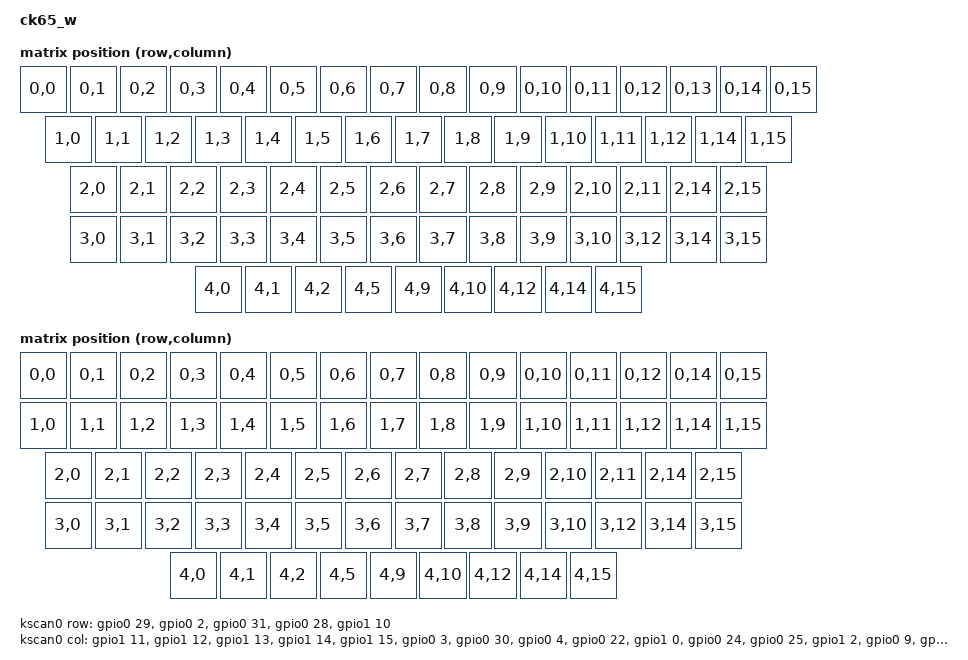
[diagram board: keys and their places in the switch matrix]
/*
 * Copyright (c) 2024 Andrew Kannan
 *
 * SPDX-License-Identifier: MIT
 */

/dts-v1/;
#include <nordic/nrf52840_qiaa.dtsi>

#include <dt-bindings/led/led.h>
#include <dt-bindings/zmk/matrix_transform.h>

#include "ck65_w-layouts.dtsi"

/ {
    model = "ck65_w";
    compatible = "cannonkeys,ck65_w";

    chosen {
        zephyr,code-partition = &code_partition;
        zephyr,sram = &sram0;
        zephyr,flash = &flash0;
        zmk,battery = &vbatt;
        zmk,kscan = &kscan0;
        zmk,physical-layout = &sixty_five_ansi_split_bs;
    };

    split_bs_transform: split_bs_transform {
        compatible = "zmk,matrix-transform";
        columns = <16>;
        rows = <5>;
        map = <
RC(0,0) RC(0,1) RC(0,2) RC(0,3) RC(0,4) RC(0,5) RC(0,6) RC(0,7) RC(0,8) RC(0,9) RC(0,10) RC(0,11) RC(0,12) RC(0,13) RC(0,14) RC(0,15)
RC(1,0)   RC(1,1) RC(1,2) RC(1,3) RC(1,4) RC(1,5) RC(1,6) RC(1,7) RC(1,8) RC(1,9) RC(1,10) RC(1,11) RC(1,12)        RC(1,14) RC(1,15)
RC(2,0)     RC(2,1) RC(2,2) RC(2,3) RC(2,4) RC(2,5) RC(2,6) RC(2,7) RC(2,8) RC(2,9) RC(2,10) RC(2,11)               RC(2,14) RC(2,15)
RC(3,0)       RC(3,1) RC(3,2) RC(3,3) RC(3,4) RC(3,5) RC(3,6) RC(3,7) RC(3,8) RC(3,9)    RC(3,10)   RC(3,12)        RC(3,14) RC(3,15)
RC(4,0)   RC(4,1)   RC(4,2)                      RC(4,5)                       RC(4,9)   RC(4,10)   RC(4,12)        RC(4,14) RC(4,15)
        >;
    };

    full_bs_transform: full_bs_transform {
        compatible = "zmk,matrix-transform";
        columns = <16>;
        rows = <5>;
        map = <
RC(0,0) RC(0,1) RC(0,2) RC(0,3) RC(0,4) RC(0,5) RC(0,6) RC(0,7) RC(0,8) RC(0,9) RC(0,10) RC(0,11) RC(0,12)          RC(0,14) RC(0,15)
RC(1,0)   RC(1,1) RC(1,2) RC(1,3) RC(1,4) RC(1,5) RC(1,6) RC(1,7) RC(1,8) RC(1,9) RC(1,10) RC(1,11) RC(1,12)        RC(1,14) RC(1,15)
RC(2,0)     RC(2,1) RC(2,2) RC(2,3) RC(2,4) RC(2,5) RC(2,6) RC(2,7) RC(2,8) RC(2,9) RC(2,10) RC(2,11)               RC(2,14) RC(2,15)
RC(3,0)       RC(3,1) RC(3,2) RC(3,3) RC(3,4) RC(3,5) RC(3,6) RC(3,7) RC(3,8) RC(3,9)    RC(3,10)   RC(3,12)        RC(3,14) RC(3,15)
RC(4,0)   RC(4,1)   RC(4,2)                      RC(4,5)                       RC(4,9)   RC(4,10)   RC(4,12)        RC(4,14) RC(4,15)
        >;
    };

    kscan0: kscan {
        compatible = "zmk,kscan-gpio-matrix";
        label = "KSCAN";
        wakeup-source;

        diode-direction = "col2row";
        row-gpios
            = <&gpio0 29 (GPIO_ACTIVE_HIGH | GPIO_PULL_DOWN)>
            , <&gpio0 2  (GPIO_ACTIVE_HIGH | GPIO_PULL_DOWN)>
            , <&gpio0 31 (GPIO_ACTIVE_HIGH | GPIO_PULL_DOWN)>
            , <&gpio0 28 (GPIO_ACTIVE_HIGH | GPIO_PULL_DOWN)>
            , <&gpio1 10 (GPIO_ACTIVE_HIGH | GPIO_PULL_DOWN)>
            ;
        col-gpios
            = <&gpio1 11 GPIO_ACTIVE_HIGH>
            , <&gpio1 12 GPIO_ACTIVE_HIGH>
            , <&gpio1 13 GPIO_ACTIVE_HIGH>
            , <&gpio1 14 GPIO_ACTIVE_HIGH>
            , <&gpio1 15 GPIO_ACTIVE_HIGH>
            , <&gpio0 3  GPIO_ACTIVE_HIGH>
            , <&gpio0 30 GPIO_ACTIVE_HIGH>
            , <&gpio0 4  GPIO_ACTIVE_HIGH>
            , <&gpio0 22 GPIO_ACTIVE_HIGH>
            , <&gpio1 0  GPIO_ACTIVE_HIGH>
            , <&gpio0 24 GPIO_ACTIVE_HIGH>
            , <&gpio0 25 GPIO_ACTIVE_HIGH>
            , <&gpio1 2  GPIO_ACTIVE_HIGH>
            , <&gpio0 9  GPIO_ACTIVE_HIGH>
            , <&gpio0 10 GPIO_ACTIVE_HIGH>
            , <&gpio0 20 GPIO_ACTIVE_HIGH>
            ;
    };

    leds {
        compatible = "gpio-leds";
        blue_led: led_0 {
            gpios = <&gpio0 26 GPIO_ACTIVE_HIGH>;
            label = "Blue LED";
        };
    };

    vbatt: vbatt {
        compatible = "zmk,battery-nrf-vddh";
        label = "BATTERY";
    };

    keys {
        compatible = "gpio-keys";
        soft_off_gpio_key: soft_off_gpio_key {
            gpios = <&gpio0 17 (GPIO_ACTIVE_HIGH | GPIO_PULL_DOWN)>;
        };
    };

    wakeup_scan: wakeup_scan {
        compatible = "zmk,gpio-key-wakeup-trigger";
        trigger = <&soft_off_gpio_key>;
        wakeup-source;
        extra-gpios = <&gpio0 20 GPIO_ACTIVE_HIGH>;
    };

    soft_off_wakers {
        compatible = "zmk,soft-off-wakeup-sources";
        wakeup-sources = <&wakeup_scan>;
    };

};

&adc {
    status = "okay";
};

&gpiote {
    status = "okay";
};

&gpio0 {
    status = "okay";
};

&gpio1 {
    status = "okay";
};

zephyr_udc0: &usbd {
    status = "okay";
};

&flash0 {
    /*
     * For more information, see:
     * http://docs.zephyrproject.org/latest/devices/dts/flash_partitions.html
     */
    partitions {
        compatible = "fixed-partitions";
        #address-cells = <1>;
        #size-cells = <1>;

        sd_partition: partition@0 {
            label = "mbr";
            reg = <0x00000000 0x00001000>;
        };

        code_partition: partition@1000 {
            label = "code_partition";
            reg = <0x00001000 0x000d3000>;
        };

        /*
         * The flash starting at 0x000d4000 and ending at
         * 0x000f3fff is reserved for use by the application.
         */

        /*
         * Storage partition will be used by FCB/LittleFS/NVS
         * if enabled.
         */
        storage_partition: partition@d4000 {
            label = "storage";
            reg = <0x000d4000 0x00020000>;
        };

        boot_partition: partition@f4000 {
            label = "adafruit_boot";
            reg = <0x000f4000 0x0000c000>;
        };
    };
};
